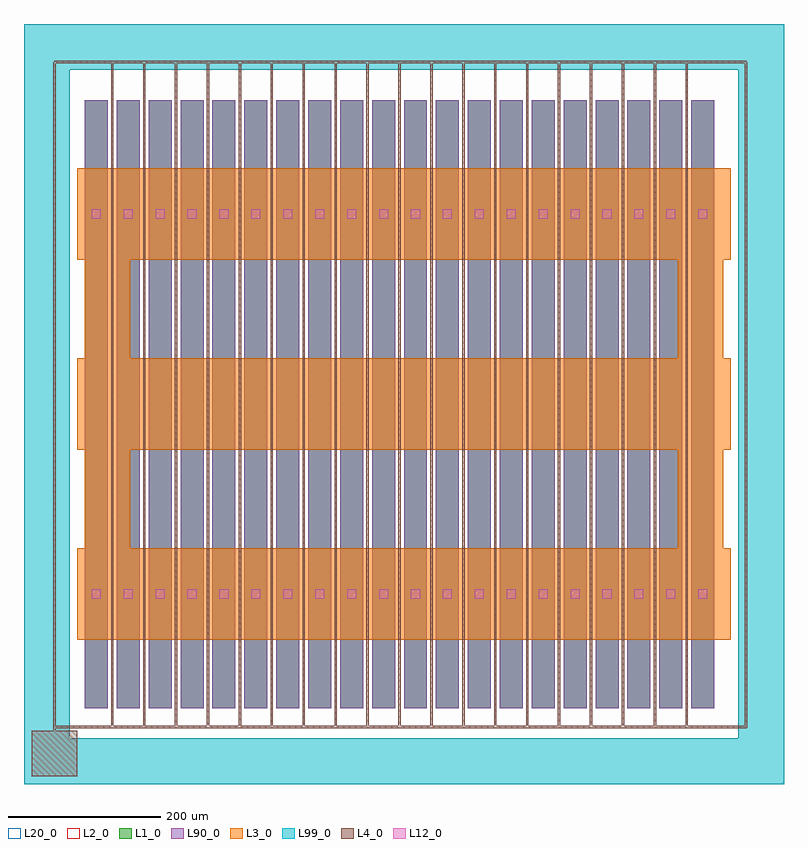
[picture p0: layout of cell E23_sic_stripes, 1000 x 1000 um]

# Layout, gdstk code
import gdstk
lib = gdstk.Library(unit=1e-6, precision=1e-09)
def R(c, l, rs):  # rectangles x0, y0, x1, y1
    for r in rs: c.add(gdstk.rectangle(r[:2], r[2:], *l))
def A(c, l, x, y, w, h, nx, ny, dx, dy):  # array of equal rectangles
    R(c, l, [(x+i*dx, y+j*dy, x+i*dx+w, y+j*dy+h) for i in range(nx) for j in range(ny)])
L1_0 = (1, 0)
L2_0 = (2, 0)
L3_0 = (3, 0)
L4_0 = (4, 0)
L12_0 = (12, 0)
L20_0 = (20, 0)
L90_0 = (90, 0)
L99_0 = (99, 0)

active_macrocell = lib.new_cell('ACTIVE_MACROCELL')
R(active_macrocell, L1_0, [(0,0,30.24,800)])
R(active_macrocell, L90_0, [(0,0,30.24,800)])

e23_sic_stripes = lib.new_cell('E23_sic_stripes')
R(e23_sic_stripes, L2_0, [(0,0,1000,1000)])
A(e23_sic_stripes, L3_0, 70, 190, 860, 120, 1, 3, 0, 250)
R(e23_sic_stripes, L3_0, [(80,190,140,810), (860,190,920,810)])
A(e23_sic_stripes, L4_0, 114.62, 75, 3, 875, 19, 1, 42, 0)
R(e23_sic_stripes, L4_0, [(10,10,70,70), (38.5,40,41.5,950), (40,73.5,950,76.5), (948.5,75,951.5,950), (40,948.5,950,951.5)])
A(e23_sic_stripes, L12_0, 89.12, 244, 12, 12, 20, 2, 42, 500)
R(e23_sic_stripes, L20_0, [(0,0,1000,1000)])
R(e23_sic_stripes, L99_0, [(0,0,1000,60), (0,60,60,940), (940,60,1000,940), (0,940,1000,1000)])
e23_sic_stripes.add(gdstk.Reference(active_macrocell, (80,100)))
e23_sic_stripes.add(gdstk.Reference(active_macrocell, (122,100)))
e23_sic_stripes.add(gdstk.Reference(active_macrocell, (164,100)))
e23_sic_stripes.add(gdstk.Reference(active_macrocell, (206,100)))
e23_sic_stripes.add(gdstk.Reference(active_macrocell, (248,100)))
e23_sic_stripes.add(gdstk.Reference(active_macrocell, (290,100)))
e23_sic_stripes.add(gdstk.Reference(active_macrocell, (332,100)))
e23_sic_stripes.add(gdstk.Reference(active_macrocell, (374,100)))
e23_sic_stripes.add(gdstk.Reference(active_macrocell, (416,100)))
e23_sic_stripes.add(gdstk.Reference(active_macrocell, (458,100)))
e23_sic_stripes.add(gdstk.Reference(active_macrocell, (500,100)))
e23_sic_stripes.add(gdstk.Reference(active_macrocell, (542,100)))
e23_sic_stripes.add(gdstk.Reference(active_macrocell, (584,100)))
e23_sic_stripes.add(gdstk.Reference(active_macrocell, (626,100)))
e23_sic_stripes.add(gdstk.Reference(active_macrocell, (668,100)))
e23_sic_stripes.add(gdstk.Reference(active_macrocell, (710,100)))
e23_sic_stripes.add(gdstk.Reference(active_macrocell, (752,100)))
e23_sic_stripes.add(gdstk.Reference(active_macrocell, (794,100)))
e23_sic_stripes.add(gdstk.Reference(active_macrocell, (836,100)))
e23_sic_stripes.add(gdstk.Reference(active_macrocell, (878,100)))

lib.write_gds('E23_sic_stripes.gds')
